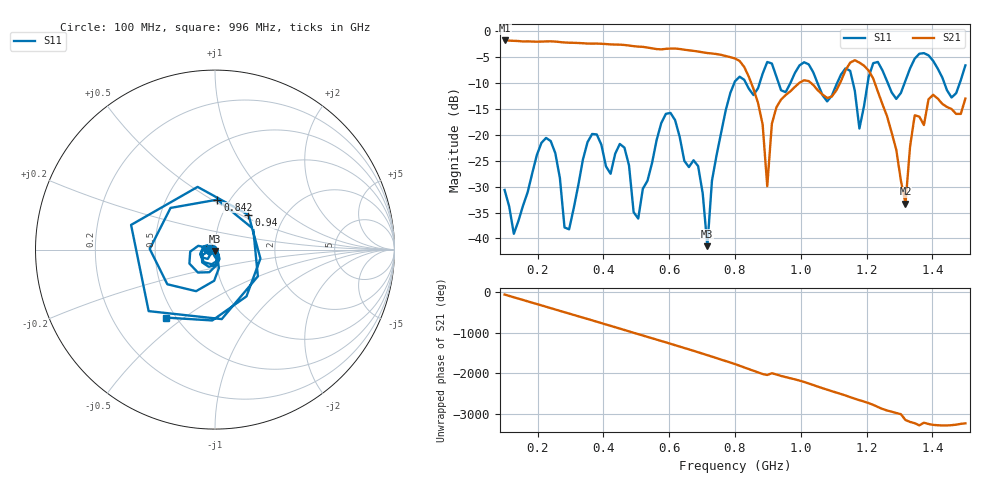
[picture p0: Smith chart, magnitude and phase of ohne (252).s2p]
! NanoVNA-App
! Date: 2025-09-25 14:22:45
! Start: 100MHz Stop: 1,5GHz Points: 101
! S-Parameter data: F S11 S21 S12 S22
# Hz S RI R 50
!  Frequency  S11_Real  S11_Imag  S21_Real  S21_Imag  S12_Real  S12_Imag  S22_Real  S22_Imag
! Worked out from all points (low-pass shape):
!   101 points, 100 MHz to 1.5 GHz, reference 50 ohm
!   highest |S21| = -1.79 dB at 100 MHz (marker M1); lowest = -33.3 dB at 1.318 GHz (marker M2)
!   |S21| within 3 dB of the highest: start of sweep to 771.6 MHz
!   lowest |S11| = -41.5 dB at 716 MHz (marker M3), VSWR 1.02, Z = 49.8 - j0.821 ohm
!   |S11| at or under -10 dB: start of sweep to 797.9 MHz; 833 MHz to 875 MHz (42 MHz wide, 4.92 % of centre); 1.051 GHz to 1.11 GHz (59.73 MHz wide, 5.53 % of centre) (the widest 3 of 7)
!   S12 and S22 are empty: the file has one direction only
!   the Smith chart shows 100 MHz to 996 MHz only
!   S11 on the Smith chart (normalised r, x): 100 MHz: 0.94, -0.01; 842 MHz: 0.88, +0.53; 940 MHz: 1.33, +0.55; 996 MHz: 0.44, -0.43
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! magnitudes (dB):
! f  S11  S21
! 100 MHz  -30.6  -1.8
! 128 MHz  -39.1  -1.9
! 226 MHz  -20.6  -2.0
! 296 MHz  -38.2  -2.2
! 338 MHz  -24.7  -2.3
! 464 MHz  -22.5  -2.7
! 506 MHz  -36.2  -3.0
! 576 MHz  -17.7  -3.5
! 688 MHz  -26.0  -3.9
! 716 MHz  -41.5  -4.2
! 800 MHz  -9.7  -5.3
! 842 MHz  -11.1  -8.8
! 898 MHz  -5.9  -29.9
! 940 MHz  -11.4  -13.2
! 996 MHz  -6.6  -9.9
! 1.038 GHz  -8.0  -10.4
! 1.178 GHz  -18.8  -6.1
! 1.22 GHz  -6.2  -9.2
! 1.276 GHz  -11.8  -19.6
! 1.318 GHz  -9.5  -33.3
! 1.346 GHz  -5.3  -16.2
! 1.5 GHz  -6.6  -13.0
